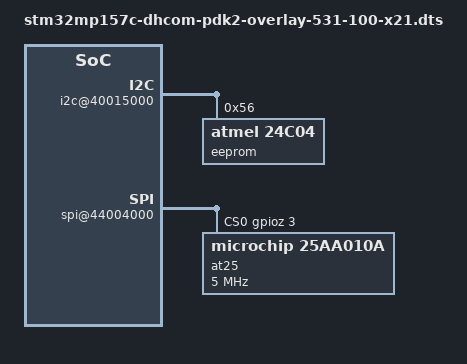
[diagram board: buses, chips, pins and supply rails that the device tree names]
// SPDX-License-Identifier: (GPL-2.0+ OR BSD-3-Clause)
/*
 * Copyright (C) 2020 Marek Vasut <marex@denx.de>
 */
/dts-v1/;
/plugin/;

/ {
	fragment-0 {
		target-path = "/soc/i2c@40015000";
		#address-cells = <1>;
		#size-cells = <1>;
		__overlay__ {
			#address-cells = <1>;
			#size-cells = <0>;
			eeprom@56 {
				compatible = "atmel,24c04";
				reg = <0x56>;
				pagesize = <16>;
			};
		};
	};

	fragment-1 {
		target-path = "/soc/spi@44004000";
		#address-cells = <1>;
		#size-cells = <1>;
		__overlay__ {
			pinctrl-names = "default";
			pinctrl-0 = <&spi1_pins_a>;
			status = "okay";
			cs-gpios = <&gpioz 3 0>;
			/* Use PIO for the 128 Byte SPI EEPROM */
			/delete-property/dmas;
			/delete-property/dma-names;
			#address-cells = <1>;
			#size-cells = <0>;

			at25@0 {
				compatible = "microchip,25aa010a", "atmel,at25";
				reg = <0>;
				spi-max-frequency = <5000000>;

				at25,byte-len = <128>;
				at25,addr-mode = <1>;
				at25,page-size = <16>;
			};
		};
	};
};
